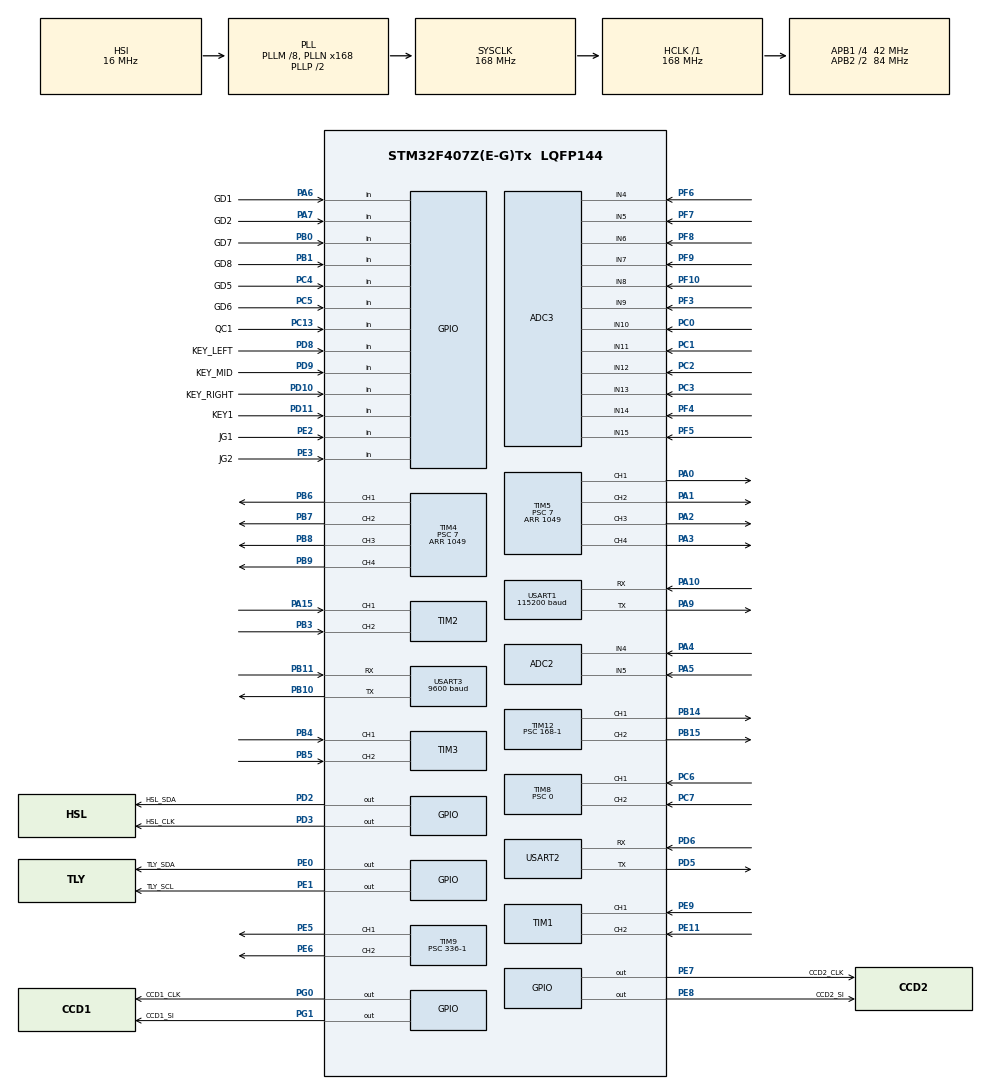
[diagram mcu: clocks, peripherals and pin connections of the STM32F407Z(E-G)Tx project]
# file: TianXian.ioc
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ADC2.Channel-0\#ChannelRegularConversion=ADC_CHANNEL_4
ADC2.ContinuousConvMode=DISABLE
ADC2.DiscontinuousConvMode=DISABLE
ADC2.NbrOfConversion=1
ADC2.NbrOfConversionFlag=1
ADC2.Rank-0\#ChannelRegularConversion=1
ADC2.SamplingTime-0\#ChannelRegularConversion=ADC_SAMPLETIME_28CYCLES
ADC3.Channel-0\#ChannelRegularConversion=ADC_CHANNEL_13
ADC3.Channel-10\#ChannelRegularConversion=ADC_CHANNEL_6
ADC3.Channel-11\#ChannelRegularConversion=ADC_CHANNEL_5
ADC3.Channel-12\#ChannelRegularConversion=ADC_CHANNEL_4
ADC3.Channel-13\#ChannelRegularConversion=ADC_CHANNEL_15
ADC3.Channel-14\#ChannelRegularConversion=ADC_CHANNEL_14
ADC3.Channel-15\#ChannelRegularConversion=ADC_CHANNEL_9
ADC3.Channel-5\#ChannelRegularConversion=ADC_CHANNEL_12
ADC3.Channel-6\#ChannelRegularConversion=ADC_CHANNEL_11
ADC3.Channel-7\#ChannelRegularConversion=ADC_CHANNEL_10
ADC3.Channel-8\#ChannelRegularConversion=ADC_CHANNEL_8
ADC3.Channel-9\#ChannelRegularConversion=ADC_CHANNEL_7
ADC3.ContinuousConvMode=ENABLE
ADC3.DMAContinuousRequests=ENABLE
ADC3.EOCSelection=ADC_EOC_SINGLE_CONV
ADC3.InjNumberOfConversion=0
ADC3.NbrOfConversion=12
ADC3.NbrOfConversionFlag=1
ADC3.Rank-0\#ChannelRegularConversion=1
ADC3.Rank-10\#ChannelRegularConversion=7
ADC3.Rank-11\#ChannelRegularConversion=8
ADC3.Rank-12\#ChannelRegularConversion=9
ADC3.Rank-13\#ChannelRegularConversion=10
ADC3.Rank-14\#ChannelRegularConversion=11
ADC3.Rank-15\#ChannelRegularConversion=12
ADC3.Rank-5\#ChannelRegularConversion=2
ADC3.Rank-6\#ChannelRegularConversion=3
ADC3.Rank-7\#ChannelRegularConversion=4
ADC3.Rank-8\#ChannelRegularConversion=5
ADC3.Rank-9\#ChannelRegularConversion=6
ADC3.SamplingTime-0\#ChannelRegularConversion=ADC_SAMPLETIME_56CYCLES
ADC3.SamplingTime-10\#ChannelRegularConversion=ADC_SAMPLETIME_56CYCLES
ADC3.SamplingTime-11\#ChannelRegularConversion=ADC_SAMPLETIME_56CYCLES
ADC3.SamplingTime-12\#ChannelRegularConversion=ADC_SAMPLETIME_56CYCLES
ADC3.SamplingTime-13\#ChannelRegularConversion=ADC_SAMPLETIME_56CYCLES
ADC3.SamplingTime-14\#ChannelRegularConversion=ADC_SAMPLETIME_56CYCLES
ADC3.SamplingTime-15\#ChannelRegularConversion=ADC_SAMPLETIME_56CYCLES
ADC3.SamplingTime-5\#ChannelRegularConversion=ADC_SAMPLETIME_56CYCLES
ADC3.SamplingTime-6\#ChannelRegularConversion=ADC_SAMPLETIME_56CYCLES
ADC3.SamplingTime-7\#ChannelRegularConversion=ADC_SAMPLETIME_56CYCLES
ADC3.SamplingTime-8\#ChannelRegularConversion=ADC_SAMPLETIME_56CYCLES
ADC3.SamplingTime-9\#ChannelRegularConversion=ADC_SAMPLETIME_56CYCLES
ADC3.ScanConvMode=ENABLE
Dma.ADC3.0.Direction=DMA_PERIPH_TO_MEMORY
Dma.ADC3.0.FIFOMode=DMA_FIFOMODE_DISABLE
Dma.ADC3.0.Instance=DMA2_Stream0
Dma.ADC3.0.MemDataAlignment=DMA_MDATAALIGN_HALFWORD
Dma.ADC3.0.MemInc=DMA_MINC_ENABLE
Dma.ADC3.0.Mode=DMA_CIRCULAR
Dma.ADC3.0.PeriphDataAlignment=DMA_PDATAALIGN_HALFWORD
Dma.ADC3.0.PeriphInc=DMA_PINC_DISABLE
Dma.ADC3.0.Priority=DMA_PRIORITY_LOW
Dma.Request0=ADC3
Dma.Request1=USART2_RX
Dma.USART2_RX.1.Direction=DMA_PERIPH_TO_MEMORY
Dma.USART2_RX.1.FIFOMode=DMA_FIFOMODE_DISABLE
Dma.USART2_RX.1.Instance=DMA1_Stream5
Dma.USART2_RX.1.MemDataAlignment=DMA_MDATAALIGN_BYTE
Dma.USART2_RX.1.MemInc=DMA_MINC_ENABLE
Dma.USART2_RX.1.Mode=DMA_NORMAL
Dma.USART2_RX.1.PeriphDataAlignment=DMA_PDATAALIGN_BYTE
Dma.USART2_RX.1.PeriphInc=DMA_PINC_DISABLE
Dma.USART2_RX.1.Priority=DMA_PRIORITY_LOW
Mcu.Family=STM32F4
Mcu.Name=STM32F407Z(E-G)Tx
Mcu.Package=LQFP144
NVIC.DMA1_Stream5_IRQn=true\:0\:0\:false\:false\:true\:false\:true\:true
NVIC.DMA2_Stream0_IRQn=true\:0\:0\:false\:false\:true\:false\:true\:true
NVIC.PriorityGroup=NVIC_PRIORITYGROUP_2
NVIC.TIM1_UP_TIM10_IRQn=true\:2\:0\:true\:false\:true\:true\:true\:true
NVIC.TIM6_DAC_IRQn=true\:0\:1\:true\:false\:true\:true\:true\:true
NVIC.TIM7_IRQn=true\:0\:2\:true\:false\:true\:true\:true\:true
NVIC.USART2_IRQn=true\:0\:0\:false\:false\:true\:true\:true\:true
PA0-WKUP.GPIO_PuPd=GPIO_NOPULL
PA0-WKUP.Signal=S_TIM5_CH1
PA1.Signal=S_TIM5_CH2
PA10.Mode=Asynchronous
PA10.Signal=USART1_RX
PA13.Mode=Serial_Wire
PA13.Signal=SYS_JTMS-SWDIO
PA14.Mode=Serial_Wire
PA14.Signal=SYS_JTCK-SWCLK
PA15.GPIO_PuPd=GPIO_PULLUP
PA15.Signal=S_TIM2_CH1_ETR
PA2.Signal=S_TIM5_CH3
PA3.Signal=S_TIM5_CH4
PA4.Signal=ADCx_IN4
PA5.Signal=ADCx_IN5
PA6.GPIO_Label=GD1
PA6.GPIO_PuPd=GPIO_PULLUP
PA6.Signal=GPIO_Input
PA7.GPIO_Label=GD2
PA7.GPIO_PuPd=GPIO_PULLUP
PA7.Signal=GPIO_Input
PA9.GPIO_Speed=GPIO_SPEED_FREQ_VERY_HIGH
PA9.Mode=Asynchronous
PA9.Signal=USART1_TX
PB0.GPIO_Label=GD7
PB0.GPIO_PuPd=GPIO_PULLUP
PB0.Signal=GPIO_Input
PB1.GPIO_Label=GD8
PB1.GPIO_PuPd=GPIO_PULLUP
PB1.Signal=GPIO_Input
PB10.Mode=Asynchronous
PB10.Signal=USART3_TX
PB11.Mode=Asynchronous
PB11.Signal=USART3_RX
PB14.Signal=S_TIM12_CH1
PB15.Signal=S_TIM12_CH2
PB3.GPIO_PuPd=GPIO_PULLUP
PB3.Signal=S_TIM2_CH2
PB4.GPIO_PuPd=GPIO_PULLUP
PB4.Signal=S_TIM3_CH1
PB5.GPIO_PuPd=GPIO_PULLUP
PB5.Signal=S_TIM3_CH2
PB6.Signal=S_TIM4_CH1
PB7.Signal=S_TIM4_CH2
PB8.Signal=S_TIM4_CH3
PB9.Signal=S_TIM4_CH4
PC0.Signal=ADCx_IN10
PC1.Signal=ADCx_IN11
PC13-ANTI_TAMP.GPIO_Label=QC1
PC13-ANTI_TAMP.GPIO_PuPd=GPIO_PULLUP
PC13-ANTI_TAMP.Signal=GPIO_Input
PC14-OSC32_IN.Mode=LSE-External-Oscillator
PC14-OSC32_IN.Signal=RCC_OSC32_IN
PC15-OSC32_OUT.Mode=LSE-External-Oscillator
PC15-OSC32_OUT.Signal=RCC_OSC32_OUT
PC2.Signal=ADCx_IN12
PC3.Signal=ADCx_IN13
PC4.GPIO_Label=GD5
PC4.GPIO_PuPd=GPIO_PULLUP
PC4.Signal=GPIO_Input
PC5.GPIO_Label=GD6
PC5.GPIO_PuPd=GPIO_PULLUP
PC5.Signal=GPIO_Input
PC6.GPIO_PuPd=GPIO_PULLUP
PC6.Signal=S_TIM8_CH1
PC7.GPIO_PuPd=GPIO_PULLUP
PC7.Signal=S_TIM8_CH2
PD10.GPIO_Label=KEY_RIGHT
PD10.GPIO_PuPd=GPIO_PULLUP
PD10.Signal=GPIO_Input
PD11.GPIO_Label=KEY1
PD11.GPIO_PuPd=GPIO_PULLUP
PD11.Signal=GPIO_Input
PD2.GPIO_Label=HSL_SDA
PD2.GPIO_ModeDefaultOutputPP=GPIO_MODE_OUTPUT_OD
PD2.GPIO_PuPd=GPIO_PULLUP
PD2.GPIO_Speed=GPIO_SPEED_FREQ_MEDIUM
PD2.PinState=GPIO_PIN_SET
PD2.Signal=GPIO_Output
PD3.GPIO_Label=HSL_CLK
PD3.GPIO_ModeDefaultOutputPP=GPIO_MODE_OUTPUT_OD
PD3.GPIO_PuPd=GPIO_PULLUP
PD3.GPIO_Speed=GPIO_SPEED_FREQ_MEDIUM
PD3.PinState=GPIO_PIN_SET
PD3.Signal=GPIO_Output
PD5.Mode=Asynchronous
PD5.Signal=USART2_TX
PD6.Mode=Asynchronous
PD6.Signal=USART2_RX
PD8.GPIO_Label=KEY_LEFT
PD8.GPIO_PuPd=GPIO_PULLUP
PD8.Signal=GPIO_Input
PD9.GPIO_Label=KEY_MID
PD9.GPIO_PuPd=GPIO_PULLUP
PD9.Signal=GPIO_Input
PE0.GPIO_Label=TLY_SDA
PE0.GPIO_PuPd=GPIO_PULLUP
PE0.GPIO_Speed=GPIO_SPEED_FREQ_MEDIUM
PE0.PinState=GPIO_PIN_SET
PE0.Signal=GPIO_Output
PE1.GPIO_Label=TLY_SCL
PE1.GPIO_PuPd=GPIO_PULLUP
PE1.GPIO_Speed=GPIO_SPEED_FREQ_MEDIUM
PE1.PinState=GPIO_PIN_SET
PE1.Signal=GPIO_Output
PE11.GPIO_PuPd=GPIO_PULLUP
PE11.Signal=S_TIM1_CH2
PE2.GPIO_Label=JG1
PE2.GPIO_PuPd=GPIO_PULLUP
PE2.Signal=GPIO_Input
PE3.GPIO_Label=JG2
PE3.GPIO_PuPd=GPIO_PULLUP
PE3.Signal=GPIO_Input
PE5.Signal=S_TIM9_CH1
PE6.Signal=S_TIM9_CH2
PE7.GPIO_Label=CCD2_CLK
PE7.GPIO_PuPd=GPIO_PULLUP
PE7.GPIO_Speed=GPIO_SPEED_FREQ_MEDIUM
PE7.Signal=GPIO_Output
PE8.GPIO_Label=CCD2_SI
PE8.GPIO_PuPd=GPIO_PULLUP
PE8.GPIO_Speed=GPIO_SPEED_FREQ_MEDIUM
PE8.Signal=GPIO_Output
PE9.GPIO_PuPd=GPIO_PULLUP
PE9.Signal=S_TIM1_CH1
PF10.Mode=IN8
PF10.Signal=ADC3_IN8
PF3.Mode=IN9
PF3.Signal=ADC3_IN9
PF4.Mode=IN14
PF4.Signal=ADC3_IN14
PF5.Mode=IN15
PF5.Signal=ADC3_IN15
PF6.Mode=IN4
PF6.Signal=ADC3_IN4
PF7.Mode=IN5
PF7.Signal=ADC3_IN5
PF8.Mode=IN6
PF8.Signal=ADC3_IN6
PF9.Mode=IN7
PF9.Signal=ADC3_IN7
PG0.GPIO_Label=CCD1_CLK
PG0.GPIO_PuPd=GPIO_PULLUP
PG0.GPIO_Speed=GPIO_SPEED_FREQ_MEDIUM
PG0.PinState=GPIO_PIN_RESET
PG0.Signal=GPIO_Output
PG1.GPIO_Label=CCD1_SI
PG1.GPIO_PuPd=GPIO_PULLUP
PG1.GPIO_Speed=GPIO_SPEED_FREQ_MEDIUM
PG1.Signal=GPIO_Output
PH0-OSC_IN.Mode=HSE-External-Oscillator
PH0-OSC_IN.Signal=RCC_OSC_IN
PH1-OSC_OUT.Mode=HSE-External-Oscillator
PH1-OSC_OUT.Signal=RCC_OSC_OUT
ProjectManager.HeapSize=0x200
ProjectManager.StackSize=0x400
ProjectManager.TargetToolchain=MDK-ARM V5.32
RCC.48MHZClocksFreq_Value=84000000
RCC.AHBFreq_Value=168000000
RCC.APB1CLKDivider=RCC_HCLK_DIV4
RCC.APB1Freq_Value=42000000
RCC.APB1TimFreq_Value=84000000
RCC.APB2CLKDivider=RCC_HCLK_DIV2
RCC.APB2Freq_Value=84000000
RCC.APB2TimFreq_Value=168000000
RCC.CortexFreq_Value=168000000
RCC.HCLKFreq_Value=168000000
RCC.HSE_VALUE=8000000
RCC.HSI_VALUE=16000000
RCC.PLLM=8
RCC.PLLN=168
RCC.SYSCLKFreq_VALUE=168000000
RCC.SYSCLKSource=RCC_SYSCLKSOURCE_PLLCLK
RCC.VCOOutputFreq_Value=336000000
SH.ADCx_IN10.0=ADC3_IN10,IN10
SH.ADCx_IN11.0=ADC3_IN11,IN11
SH.ADCx_IN12.0=ADC3_IN12,IN12
SH.ADCx_IN13.0=ADC3_IN13,IN13
SH.ADCx_IN4.0=ADC2_IN4,IN4
SH.ADCx_IN5.0=ADC2_IN5,IN5
SH.S_TIM12_CH1.0=TIM12_CH1,PWM Generation1 CH1
SH.S_TIM12_CH2.0=TIM12_CH2,PWM Generation2 CH2
SH.S_TIM1_CH1.0=TIM1_CH1,Encoder_Interface
SH.S_TIM1_CH2.0=TIM1_CH2,Encoder_Interface
SH.S_TIM2_CH1_ETR.0=TIM2_CH1,Encoder_Interface
SH.S_TIM2_CH2.0=TIM2_CH2,Encoder_Interface
SH.S_TIM3_CH1.0=TIM3_CH1,Encoder_Interface
SH.S_TIM3_CH2.0=TIM3_CH2,Encoder_Interface
SH.S_TIM4_CH1.0=TIM4_CH1,PWM Generation1 CH1
SH.S_TIM4_CH2.0=TIM4_CH2,PWM Generation2 CH2
SH.S_TIM4_CH3.0=TIM4_CH3,PWM Generation3 CH3
SH.S_TIM4_CH4.0=TIM4_CH4,PWM Generation4 CH4
SH.S_TIM5_CH1.0=TIM5_CH1,PWM Generation1 CH1
SH.S_TIM5_CH2.0=TIM5_CH2,PWM Generation2 CH2
SH.S_TIM5_CH3.0=TIM5_CH3,PWM Generation3 CH3
SH.S_TIM5_CH4.0=TIM5_CH4,PWM Generation4 CH4
SH.S_TIM8_CH1.0=TIM8_CH1,Encoder_Interface
SH.S_TIM8_CH2.0=TIM8_CH2,Encoder_Interface
SH.S_TIM9_CH1.0=TIM9_CH1,PWM Generation1 CH1
SH.S_TIM9_CH2.0=TIM9_CH2,PWM Generation2 CH2
TIM1.EncoderMode=TIM_ENCODERMODE_TI12
TIM10.Period=1000
TIM10.Prescaler=167
TIM12.Channel-PWM\ Generation1\ CH1=TIM_CHANNEL_1
TIM12.Channel-PWM\ Generation2\ CH2=TIM_CHANNEL_2
TIM12.Period=10000-1
TIM12.Prescaler=168-1
TIM2.EncoderMode=TIM_ENCODERMODE_TI12
TIM3.EncoderMode=TIM_ENCODERMODE_TI12
TIM4.Channel-PWM\ Generation1\ CH1=TIM_CHANNEL_1
TIM4.Channel-PWM\ Generation2\ CH2=TIM_CHANNEL_2
TIM4.Channel-PWM\ Generation3\ CH3=TIM_CHANNEL_3
TIM4.Channel-PWM\ Generation4\ CH4=TIM_CHANNEL_4
TIM4.Period=1049
TIM4.Prescaler=7
TIM5.Channel-PWM\ Generation1\ CH1=TIM_CHANNEL_1
TIM5.Channel-PWM\ Generation2\ CH2=TIM_CHANNEL_2
TIM5.Channel-PWM\ Generation3\ CH3=TIM_CHANNEL_3
TIM5.Channel-PWM\ Generation4\ CH4=TIM_CHANNEL_4
TIM5.Period=1049
TIM5.Prescaler=7
TIM6.Period=1000
TIM6.Prescaler=83
TIM7.Period=1000
TIM7.Prescaler=83
TIM8.EncoderMode=TIM_ENCODERMODE_TI12
TIM8.Period=65535
TIM8.Prescaler=0
TIM9.Channel-PWM\ Generation1\ CH1=TIM_CHANNEL_1
TIM9.Channel-PWM\ Generation2\ CH2=TIM_CHANNEL_2
TIM9.Period=10000-1
TIM9.Prescaler=336-1
USART1.BaudRate=115200
USART1.Mode=MODE_TX
USART1.VirtualMode=VM_ASYNC
USART2.VirtualMode=VM_ASYNC
USART3.BaudRate=9600
USART3.Mode=MODE_TX
USART3.VirtualMode=VM_ASYNC
VP_TIM10_VS_ClockSourceINT.Mode=Enable_Timer
VP_TIM12_VS_ClockSourceINT.Mode=Internal
VP_TIM4_VS_ClockSourceINT.Mode=Internal
VP_TIM5_VS_ClockSourceINT.Mode=Internal
VP_TIM6_VS_ClockSourceINT.Mode=Enable_Timer
VP_TIM7_VS_ClockSourceINT.Mode=Enable_Timer
VP_TIM9_VS_ClockSourceINT.Mode=Internal
board=custom

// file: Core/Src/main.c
/* USER CODE BEGIN Header */
/**
  ******************************************************************************
  * @file           : main.c
  * @brief          : Main program body
  ******************************************************************************
  * @attention
  *
  * Copyright (c) 2025 STMicroelectronics.
  * All rights reserved.
  *
  * This software is licensed under terms that can be found in the LICENSE file
  * in the root directory of this software component.
  * If no LICENSE file comes with this software, it is provided AS-IS.
  *
  ******************************************************************************
  */
/* USER CODE END Header */
#include "main.h"
#include "adc.h"
#include "dma.h"
#include "tim.h"
#include "usart.h"
#include "gpio.h"

/* USER CODE BEGIN PTD */

	CAR_STRUCT car;
	Kalman     kfp;
	volatile PID pid_1;
	volatile PID pid_2;
	volatile PID pid_3;
	volatile PID pid_4;

	volatile PID pid_F;//
	volatile PID pid_A;//
	volatile PID pid_R;//

//	volatile float I_limit=100;
	volatile int A_limit=180;
	volatile int P_V_limit=900;

	volatile int velocity[5]={0};
	volatile int32_t encoder[5]={0};
	uint16_t AD_value[12];
	uint16_t AD_data[12];
	unsigned char HSL_value[3];
	u8 Function_Value=0;
	int cou=0;
	uint32_t CHANNEL_CCD;
	int8_t flag6times;
	int carrr;

/* USER CODE END PTD */

/* USER CODE BEGIN PM */
int count;
/* USER CODE END PM */

void SystemClock_Config(void);

int main(void)
{

  /* MCU Configuration--------------------------------------------------------*/

  /* Reset of all peripherals, Initializes the Flash interface and the Systick. */
  HAL_Init();

  /* Configure the system clock */
  SystemClock_Config();

  /* Initialize all configured peripherals */
  MX_GPIO_Init();
  MX_DMA_Init();
  MX_TIM4_Init();
  MX_TIM5_Init();
  MX_ADC3_Init();
  MX_TIM1_Init();
  MX_TIM2_Init();
  MX_TIM3_Init();
  MX_TIM8_Init();
  MX_TIM9_Init();
  MX_TIM12_Init();
  MX_TIM6_Init();
  MX_TIM7_Init();
  MX_TIM10_Init();
  MX_ADC2_Init();
  MX_USART1_UART_Init();
  MX_USART3_UART_Init();
  MX_USART2_UART_Init();
  /* USER CODE BEGIN 2 */

	HAL_TIM_Base_Start_IT(&htim7);//read
	HAL_ADC_Start_DMA(&hadc3,(uint32_t*)AD_value,12);
	move_init();
	Para_Init();
	Kalman_Init();
	Dj_all_Init();
	printf("\x01\xff\xff\xff");
	printf("t0.txt=\"no\"\xFF\xFF\xFF");
	printf("t13.txt=\"NULL\"\xFF\xFF\xFF");
//	HAL_UART_Receive_IT(&huart2, &usart2_dataRcvd, 1);
	HAL_Delay(50);

  /* USER CODE END 2 */

  /* Infinite loop */
  /* USER CODE BEGIN WHILE */

//	SYN_FrameInfo(0, "[v16][t5]?  ");
//	HAL_TIM_Base_Start_IT(&htim6);
   Function_Value = Function_Mode();
//	car.state = 1;
  HAL_Delay(50);

//	car.Target=250;
//  HWT101_Calibrate();
//  HWT101_go(0,100,NULL);
//    go((1<<0)|(1<<1),100,0,0,NULL);******************
//	move_control(800,0,0,0);
//	go_time(100000,-100,1,0,NULL);
//	go_enco(50,100,0,0,NULL);
//	HWT101_Calibrate();
//	HWT101_go(0,0,NULL);
//	car.Target=-100;
//	car.state=100;
//while(1)
//{
//	HAL_TIM_Base_Stop_IT(&htim6);
//	move_control(0,0,0,0);
//	HAL_Delay(5000);
//	HAL_TIM_Base_Start_IT(&htim6);
//	HAL_Delay(10000);
//}

  while (1)
  {
	  if(Function_Value==5)		//ALL
		{
			DJ_QQB();
//			DJ_down();
			USART2_StartRead();
			HAL_TIM_Base_Stop_IT(&htim7);
			Display();
		}
		if(Function_Value==1)
		{
			Ready();
			part1_pro();
			part2_pro();
			part3_pro();
			part4_pro();
			Ready();
			part1_pro();
			part2_pro();
			part3_pro();
			part4_pro();

			stop(1);
			while(1);
		}
		if(Function_Value==2)
		{

			Ready();

			part1_pro();
			part2_pro();
			part3_pro();
			part4_pro();
			stop(1);
			while(1);
		}

		if(Function_Value==3)	//huidu_PID_test//zuo_you_test
		{
			Ready();

			stop(20);

//			DJ_QQB();
////			DJ_down();
//			stop(500);

////////////////////////////////////////////
//			qi_bu();
//			car.Target_dis = 100;
//			go_acc(80,90,110,1,0,my_enco);
//
////			car.Av = 8.5;	//change huidu_av
//
//			go_enco(400,110,1,0,NULL);
//
//			car.Target_dis = 50;
//			go_acc(80,110,90,1,0,my_enco);
////////////////////////////////////////////
//
////			car.Target_dis = 55;
////			go_acc(50,85,110,0,1,my_enco);
////			go_GD(1,110,0,1,NULL);						//到阶梯
////
////			go_enco(80,80,0,0,NULL);		//过阶梯/////////////////////////////////////////////////
////			go_enco(35,90,0,0,NULL);		//过阶梯/////////////////////////////////////////////////

////			go_enco(100,110,0,-1,NULL);		//到直线

////			go_acc(100,110,300,0,0,my_huidu1011);
////			go_enco(40,300,0,0,NULL);					//测  场地实际距离170cm，去掉减速距离，走的距离要比170cm少一点
////			go_acc(100,300,110,0,-1,my_huidu1011);

////
////			go_enco(70,110,0,-1,NULL);		//左巡进岔路///////////////////////////////////////////

////			car.Target_dis = 30;
////			go_acc(100,110,250,0,0,my_enco);

////			car.Target_dis = 90;
////			go_acc(100,250,85,0,0,my_enco);
////
////			go_enco(40,60,0,0,my_qc1);

			while(1){}
		}

		if(Function_Value==4)		  //test HWT101_GD
		{
			DJ_down();
			stop(500);

			HWT101_Calibrate();
			HWT101_GD(0,100,0,0,NULL);

			while(1){}
		}

		if(Function_Value==8)		  //test HWT101_GD
		{
			Ready();
			go_acc(100,-90,-100,0,0,NULL);

			while(1){}
		}

		if(Function_Value==6)
		{

			DJ_camera_look();
			stop(500);

//			TIM9->CCR1=250;
//			stop(200);
//			TIM9->CCR1=450;
//			stop(200);
//			TIM9->CCR1=250;

			while(1)
			{
				USART2_StartRead();

				stop_read(TIME_READ);

				USART2_StopRead();
				SYN_ZL(ZL_ID);

				HAL_Delay(5000);
			}
		}

    /* USER CODE END WHILE */

  }
}

void SystemClock_Config(void)
{
  RCC_OscInitTypeDef RCC_OscInitStruct = {0};
  RCC_ClkInitTypeDef RCC_ClkInitStruct = {0};

  /** Configure the main internal regulator output voltage
  */
  __HAL_RCC_PWR_CLK_ENABLE();
  __HAL_PWR_VOLTAGESCALING_CONFIG(PWR_REGULATOR_VOLTAGE_SCALE1);

  /** Initializes the RCC Oscillators according to the specified parameters
  * in the RCC_OscInitTypeDef structure.
  */
  RCC_OscInitStruct.OscillatorType = RCC_OSCILLATORTYPE_HSI;
  RCC_OscInitStruct.HSIState = RCC_HSI_ON;
  RCC_OscInitStruct.HSICalibrationValue = RCC_HSICALIBRATION_DEFAULT;
  RCC_OscInitStruct.PLL.PLLState = RCC_PLL_ON;
  RCC_OscInitStruct.PLL.PLLSource = RCC_PLLSOURCE_HSI;
  RCC_OscInitStruct.PLL.PLLM = 8;
  RCC_OscInitStruct.PLL.PLLN = 168;
  RCC_OscInitStruct.PLL.PLLP = RCC_PLLP_DIV2;
  RCC_OscInitStruct.PLL.PLLQ = 4;
  if (HAL_RCC_OscConfig(&RCC_OscInitStruct) != HAL_OK)
  {
    Error_Handler();
  }

  /** Initializes the CPU, AHB and APB buses clocks
  */
  RCC_ClkInitStruct.ClockType = RCC_CLOCKTYPE_HCLK|RCC_CLOCKTYPE_SYSCLK
                              |RCC_CLOCKTYPE_PCLK1|RCC_CLOCKTYPE_PCLK2;
  RCC_ClkInitStruct.SYSCLKSource = RCC_SYSCLKSOURCE_PLLCLK;
  RCC_ClkInitStruct.AHBCLKDivider = RCC_SYSCLK_DIV1;
  RCC_ClkInitStruct.APB1CLKDivider = RCC_HCLK_DIV4;
  RCC_ClkInitStruct.APB2CLKDivider = RCC_HCLK_DIV2;

  if (HAL_RCC_ClockConfig(&RCC_ClkInitStruct, FLASH_LATENCY_5) != HAL_OK)
  {
    Error_Handler();
  }
}

/* USER CODE BEGIN 4 */

//			  Read_128(ADC_CHANNEL_4);
//			  Gap_Avr(Pixel, 4);
//			  Aver128(Pixel,0,31);
//			  for (int i=0;i<32;i++)
//			  {
//				  printf("%d,%d,%f\n",Pixel[i],car.delay_time,car.minav2);
//			  }
//			  for (int i=0;i<20;i++)
//			  {
//				  printf("%d,%d,%f\n",225,car.delay_time,car.minav2);
//
//			  }
//			  auto_Exposure();
//			  HAL_Delay(car.delay_time);

/* USER CODE END 4 */

void Error_Handler(void)
{
  __disable_irq();
  while (1)
  {
  }
}
